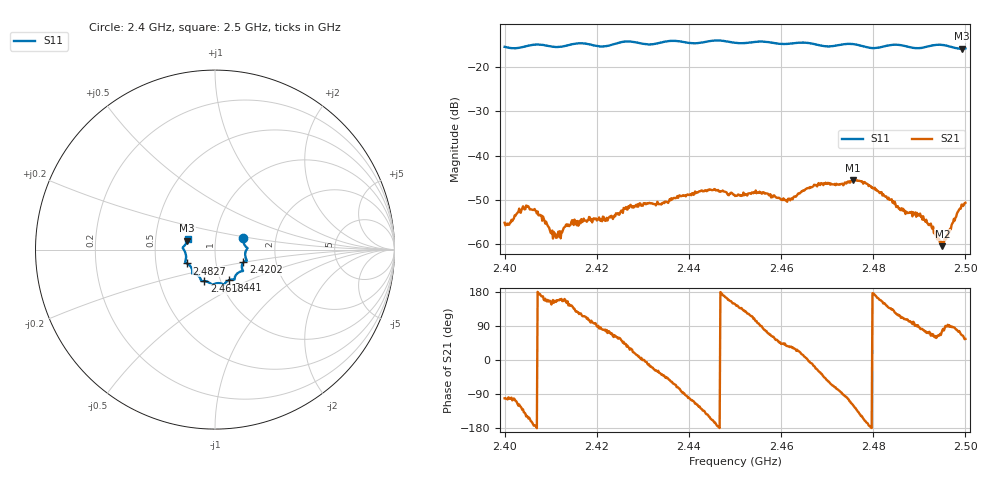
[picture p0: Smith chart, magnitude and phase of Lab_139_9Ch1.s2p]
# Hz S RI R 50
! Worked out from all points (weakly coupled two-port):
!   601 points, 2.4 GHz to 2.5 GHz, reference 50 ohm
!   highest |S21| = -45.56 dB at 2.4757 GHz (marker M1); lowest = -60.6 dB at 2.495 GHz (marker M2)
!   lowest |S11| = -15.8 dB at 2.4992 GHz (marker M3), VSWR 1.39, Z = 36.4 + j3.66 ohm
!   |S11| at or under -10 dB: start of sweep to end of sweep
!   S12 and S22 are empty: the file has one direction only
!   S11 on the Smith chart (normalised r, x): 2.4 GHz: 1.36, +0.18; 2.4202 GHz: 1.36, -0.20; 2.441 GHz: 1.10, -0.39; 2.4618 GHz: 0.84, -0.30; 2.4827 GHz: 0.72, -0.12; 2.5 GHz: 0.73, +0.09
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2.4e9  0.1587 0.0629  -0.000331 -0.0017  0 0  0 0
2.4045e9  0.1718 0.0164  -0.00193 -0.00154  0 0  0 0
2.4075e9  0.1808 0.00777  -0.00209 0.000223  0 0  0 0
2.411e9  0.1692 -0.0164  -0.00119 0.000531  0 0  0 0
2.416667e9  0.177 -0.0609  -0.000938 0.00165  0 0  0 0
2.420167e9  0.1586 -0.0712  5.85e-05 0.00187  0 0  0 0
2.427333e9  0.155 -0.1195  0.00238 0.0014  0 0  0 0
2.433333e9  0.1114 -0.1508  0.00248 -0.00134  0 0  0 0
2.441e9  0.0787 -0.1696  -0.00114 -0.00339  0 0  0 0
2.445167e9  0.0518 -0.1934  -0.00378 -0.00147  0 0  0 0
2.45e9  0.0283 -0.1874  -0.00293 0.00187  0 0  0 0
2.455e9  -0.0124 -0.1951  -0.000442 0.00374  0 0  0 0
2.461833e9  -0.059 -0.1756  0.00268 0.00182  0 0  0 0
2.466667e9  -0.0789 -0.1683  0.00432 -0.000695  0 0  0 0
2.475667e9  -0.1274 -0.1317  -0.00262 -0.00458  0 0  0 0
2.482667e9  -0.1562 -0.0773  -0.00285 0.0019  0 0  0 0
2.483333e9  -0.1606 -0.0752  -0.00248 0.00221  0 0  0 0
2.487167e9  -0.1629 -0.0582  -0.000649 0.00222  0 0  0 0
2.490333e9  -0.1646 -0.0197  0.000298 0.00201  0 0  0 0
2.495e9  -0.1788 0.0125  0.000184 0.00092  0 0  0 0
2.499167e9  -0.1548 0.0489  0.00113 0.00253  0 0  0 0
2.5e9  -0.1522 0.0606  0.00165 0.0024  0 0  0 0
